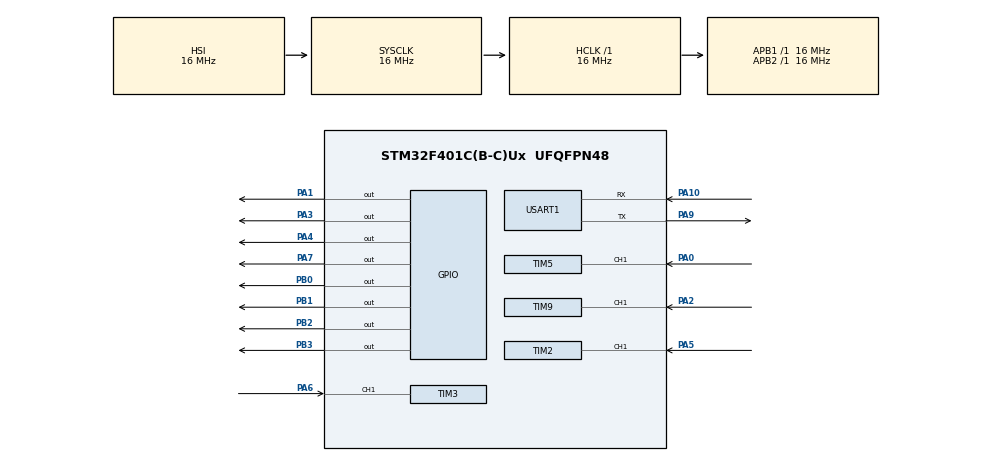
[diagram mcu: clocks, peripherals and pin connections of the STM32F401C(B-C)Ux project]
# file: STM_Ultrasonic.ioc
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Mcu.Family=STM32F4
Mcu.Name=STM32F401C(B-C)Ux
Mcu.Package=UFQFPN48
NVIC.PriorityGroup=NVIC_PRIORITYGROUP_4
PA0-WKUP.Signal=S_TIM5_CH1
PA1.Signal=GPIO_Output
PA10.Mode=Asynchronous
PA10.Signal=USART1_RX
PA13.Mode=Serial_Wire
PA13.Signal=SYS_JTMS-SWDIO
PA14.Mode=Serial_Wire
PA14.Signal=SYS_JTCK-SWCLK
PA2.Signal=S_TIM9_CH1
PA3.Signal=GPIO_Output
PA4.Signal=GPIO_Output
PA5.Signal=S_TIM2_CH1_ETR
PA6.Signal=S_TIM3_CH1
PA7.Signal=GPIO_Output
PA9.Mode=Asynchronous
PA9.Signal=USART1_TX
PB0.Signal=GPIO_Output
PB1.Signal=GPIO_Output
PB2.Signal=GPIO_Output
PB3.Signal=GPIO_Output
ProjectManager.HeapSize=0x200
ProjectManager.StackSize=0x400
ProjectManager.TargetToolchain=CMake
RCC.AHBFreq_Value=16000000
RCC.APB1Freq_Value=16000000
RCC.APB2Freq_Value=16000000
RCC.CortexFreq_Value=16000000
RCC.HSE_VALUE=25000000
RCC.HSI_VALUE=16000000
RCC.LSE_VALUE=32768
RCC.SYSCLKFreq_VALUE=16000000
RCC.VCOOutputFreq_Value=192000000
SH.S_TIM2_CH1_ETR.0=TIM2_CH1,Input_Capture1_from_TI1
SH.S_TIM3_CH1.0=TIM3_CH1,Input_Capture1_from_TI1
SH.S_TIM5_CH1.0=TIM5_CH1,Input_Capture1_from_TI1
SH.S_TIM9_CH1.0=TIM9_CH1,Input_Capture1_from_TI1
TIM2.Channel-Input_Capture1_from_TI1=TIM_CHANNEL_1
TIM2.ICPolarity_CH1=TIM_INPUTCHANNELPOLARITY_BOTHEDGE
TIM2.Prescaler=16
TIM3.Channel-Input_Capture1_from_TI1=TIM_CHANNEL_1
TIM3.ICPolarity_CH1=TIM_INPUTCHANNELPOLARITY_BOTHEDGE
TIM3.Prescaler=16
TIM5.Channel-Input_Capture1_from_TI1=TIM_CHANNEL_1
TIM5.ICPolarity_CH1=TIM_INPUTCHANNELPOLARITY_BOTHEDGE
TIM5.Prescaler=16
TIM9.Channel-Input_Capture1_from_TI1=TIM_CHANNEL_1
TIM9.ICPolarity_CH1=TIM_INPUTCHANNELPOLARITY_BOTHEDGE
TIM9.Prescaler=16
USART1.VirtualMode=VM_ASYNC
VP_TIM2_VS_ClockSourceINT.Mode=Internal
VP_TIM3_VS_ClockSourceINT.Mode=Internal
VP_TIM5_VS_ClockSourceINT.Mode=Internal
VP_TIM9_VS_ClockSourceINT.Mode=Internal
board=custom

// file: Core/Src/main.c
/* USER CODE BEGIN Header */
/**
 ******************************************************************************
 * @file           : main.c
 * @brief          : Main program body
 ******************************************************************************
 * @attention
 *
 * Copyright (c) 2025 STMicroelectronics.
 * All rights reserved.
 *
 * This software is licensed under terms that can be found in the LICENSE file
 * in the root directory of this software component.
 * If no LICENSE file comes with this software, it is provided AS-IS.
 *
 ******************************************************************************
 */
/* USER CODE END Header */
#include "main.h"

/* USER CODE BEGIN Includes */
#include "Ultrasonic_Sensor.h"

/* USER CODE END Includes */

TIM_HandleTypeDef htim2;
TIM_HandleTypeDef htim3;
TIM_HandleTypeDef htim5;
TIM_HandleTypeDef htim9;

UART_HandleTypeDef huart1;

/* USER CODE BEGIN PV */

extern const Ultrasonic us[4];

/* USER CODE END PV */

void SystemClock_Config(void);
static void MX_GPIO_Init(void);
static void MX_TIM2_Init(void);
static void MX_TIM3_Init(void);
static void MX_TIM5_Init(void);
static void MX_TIM9_Init(void);
static void MX_USART1_UART_Init(void);

int main(void)
{

  /* MCU Configuration--------------------------------------------------------*/

  /* Reset of all peripherals, Initializes the Flash interface and the Systick. */
  HAL_Init();

  /* Configure the system clock */
  SystemClock_Config();

  /* Initialize all configured peripherals */
  MX_GPIO_Init();
  MX_TIM2_Init();
  MX_TIM3_Init();
  MX_TIM5_Init();
  MX_TIM9_Init();
  MX_USART1_UART_Init();
  /* USER CODE BEGIN 2 */
  char distance_msg[64];
  snprintf(distance_msg, sizeof(distance_msg), "Hello\r\n");
  HAL_UART_Transmit(&huart1, (uint8_t *)distance_msg, strlen(distance_msg), HAL_MAX_DELAY);
  HAL_TIM_Base_Start(&htim2);
  HAL_TIM_Base_Start(&htim3);
  HAL_TIM_Base_Start(&htim5);
  HAL_TIM_Base_Start(&htim9);

  /* USER CODE END 2 */

  /* Infinite loop */
  /* USER CODE BEGIN WHILE */
  while (1)
  {
    uint16_t d[4];

    // for (int i = 0; i < 4; i++)
    // {
    //   d[i] = US_Measure_cm(&us[i], i);
    //   HAL_Delay(60); // allow echoes to clear
    // }
    d[0] = US_Measure_cm(&us[0], 0);
    HAL_Delay(60); // allow echoes to clear
    d[1] = US_Measure_cm(&us[1], 1);
    HAL_Delay(60); // allow echoes to clear
    // d[2] = US_Measure_cm(&us[2], 2);
    // HAL_Delay(60); // allow echoes to clear
    // d[3] = US_Measure_cm(&us[3], 3);
    // HAL_Delay(60); // allow echoes to clear

    HAL_UART_Transmit(&huart1, (uint8_t *)d, sizeof(d), HAL_MAX_DELAY);

    HAL_Delay(100);

    /* USER CODE END WHILE */

  }
}

void SystemClock_Config(void)
{
  RCC_OscInitTypeDef RCC_OscInitStruct = {0};
  RCC_ClkInitTypeDef RCC_ClkInitStruct = {0};

  /** Configure the main internal regulator output voltage
   */
  __HAL_RCC_PWR_CLK_ENABLE();
  __HAL_PWR_VOLTAGESCALING_CONFIG(PWR_REGULATOR_VOLTAGE_SCALE2);

  /** Initializes the RCC Oscillators according to the specified parameters
   * in the RCC_OscInitTypeDef structure.
   */
  RCC_OscInitStruct.OscillatorType = RCC_OSCILLATORTYPE_HSI;
  RCC_OscInitStruct.HSIState = RCC_HSI_ON;
  RCC_OscInitStruct.HSICalibrationValue = RCC_HSICALIBRATION_DEFAULT;
  RCC_OscInitStruct.PLL.PLLState = RCC_PLL_NONE;
  if (HAL_RCC_OscConfig(&RCC_OscInitStruct) != HAL_OK)
  {
    Error_Handler();
  }

  /** Initializes the CPU, AHB and APB buses clocks
   */
  RCC_ClkInitStruct.ClockType = RCC_CLOCKTYPE_HCLK | RCC_CLOCKTYPE_SYSCLK | RCC_CLOCKTYPE_PCLK1 | RCC_CLOCKTYPE_PCLK2;
  RCC_ClkInitStruct.SYSCLKSource = RCC_SYSCLKSOURCE_HSI;
  RCC_ClkInitStruct.AHBCLKDivider = RCC_SYSCLK_DIV1;
  RCC_ClkInitStruct.APB1CLKDivider = RCC_HCLK_DIV1;
  RCC_ClkInitStruct.APB2CLKDivider = RCC_HCLK_DIV1;

  if (HAL_RCC_ClockConfig(&RCC_ClkInitStruct, FLASH_LATENCY_0) != HAL_OK)
  {
    Error_Handler();
  }
}

static void MX_TIM2_Init(void)
{

  TIM_ClockConfigTypeDef sClockSourceConfig = {0};
  TIM_MasterConfigTypeDef sMasterConfig = {0};
  TIM_IC_InitTypeDef sConfigIC = {0};

  htim2.Instance = TIM2;
  htim2.Init.Prescaler = 16;
  htim2.Init.CounterMode = TIM_COUNTERMODE_UP;
  htim2.Init.Period = 4294967295;
  htim2.Init.ClockDivision = TIM_CLOCKDIVISION_DIV1;
  htim2.Init.AutoReloadPreload = TIM_AUTORELOAD_PRELOAD_DISABLE;
  if (HAL_TIM_Base_Init(&htim2) != HAL_OK)
  {
    Error_Handler();
  }
  sClockSourceConfig.ClockSource = TIM_CLOCKSOURCE_INTERNAL;
  if (HAL_TIM_ConfigClockSource(&htim2, &sClockSourceConfig) != HAL_OK)
  {
    Error_Handler();
  }
  if (HAL_TIM_IC_Init(&htim2) != HAL_OK)
  {
    Error_Handler();
  }
  sMasterConfig.MasterOutputTrigger = TIM_TRGO_RESET;
  sMasterConfig.MasterSlaveMode = TIM_MASTERSLAVEMODE_DISABLE;
  if (HAL_TIMEx_MasterConfigSynchronization(&htim2, &sMasterConfig) != HAL_OK)
  {
    Error_Handler();
  }
  sConfigIC.ICPolarity = TIM_INPUTCHANNELPOLARITY_BOTHEDGE;
  sConfigIC.ICSelection = TIM_ICSELECTION_DIRECTTI;
  sConfigIC.ICPrescaler = TIM_ICPSC_DIV1;
  sConfigIC.ICFilter = 0;
  if (HAL_TIM_IC_ConfigChannel(&htim2, &sConfigIC, TIM_CHANNEL_1) != HAL_OK)
  {
    Error_Handler();
  }
}

static void MX_TIM3_Init(void)
{

  TIM_ClockConfigTypeDef sClockSourceConfig = {0};
  TIM_MasterConfigTypeDef sMasterConfig = {0};
  TIM_IC_InitTypeDef sConfigIC = {0};

  htim3.Instance = TIM3;
  htim3.Init.Prescaler = 16;
  htim3.Init.CounterMode = TIM_COUNTERMODE_UP;
  htim3.Init.Period = 65535;
  htim3.Init.ClockDivision = TIM_CLOCKDIVISION_DIV1;
  htim3.Init.AutoReloadPreload = TIM_AUTORELOAD_PRELOAD_DISABLE;
  if (HAL_TIM_Base_Init(&htim3) != HAL_OK)
  {
    Error_Handler();
  }
  sClockSourceConfig.ClockSource = TIM_CLOCKSOURCE_INTERNAL;
  if (HAL_TIM_ConfigClockSource(&htim3, &sClockSourceConfig) != HAL_OK)
  {
    Error_Handler();
  }
  if (HAL_TIM_IC_Init(&htim3) != HAL_OK)
  {
    Error_Handler();
  }
  sMasterConfig.MasterOutputTrigger = TIM_TRGO_RESET;
  sMasterConfig.MasterSlaveMode = TIM_MASTERSLAVEMODE_DISABLE;
  if (HAL_TIMEx_MasterConfigSynchronization(&htim3, &sMasterConfig) != HAL_OK)
  {
    Error_Handler();
  }
  sConfigIC.ICPolarity = TIM_INPUTCHANNELPOLARITY_BOTHEDGE;
  sConfigIC.ICSelection = TIM_ICSELECTION_DIRECTTI;
  sConfigIC.ICPrescaler = TIM_ICPSC_DIV1;
  sConfigIC.ICFilter = 0;
  if (HAL_TIM_IC_ConfigChannel(&htim3, &sConfigIC, TIM_CHANNEL_1) != HAL_OK)
  {
    Error_Handler();
  }
}

static void MX_TIM5_Init(void)
{

  TIM_ClockConfigTypeDef sClockSourceConfig = {0};
  TIM_MasterConfigTypeDef sMasterConfig = {0};
  TIM_IC_InitTypeDef sConfigIC = {0};

  htim5.Instance = TIM5;
  htim5.Init.Prescaler = 16;
  htim5.Init.CounterMode = TIM_COUNTERMODE_UP;
  htim5.Init.Period = 4294967295;
  htim5.Init.ClockDivision = TIM_CLOCKDIVISION_DIV1;
  htim5.Init.AutoReloadPreload = TIM_AUTORELOAD_PRELOAD_DISABLE;
  if (HAL_TIM_Base_Init(&htim5) != HAL_OK)
  {
    Error_Handler();
  }
  sClockSourceConfig.ClockSource = TIM_CLOCKSOURCE_INTERNAL;
  if (HAL_TIM_ConfigClockSource(&htim5, &sClockSourceConfig) != HAL_OK)
  {
    Error_Handler();
  }
  if (HAL_TIM_IC_Init(&htim5) != HAL_OK)
  {
    Error_Handler();
  }
  sMasterConfig.MasterOutputTrigger = TIM_TRGO_RESET;
  sMasterConfig.MasterSlaveMode = TIM_MASTERSLAVEMODE_DISABLE;
  if (HAL_TIMEx_MasterConfigSynchronization(&htim5, &sMasterConfig) != HAL_OK)
  {
    Error_Handler();
  }
  sConfigIC.ICPolarity = TIM_INPUTCHANNELPOLARITY_BOTHEDGE;
  sConfigIC.ICSelection = TIM_ICSELECTION_DIRECTTI;
  sConfigIC.ICPrescaler = TIM_ICPSC_DIV1;
  sConfigIC.ICFilter = 0;
  if (HAL_TIM_IC_ConfigChannel(&htim5, &sConfigIC, TIM_CHANNEL_1) != HAL_OK)
  {
    Error_Handler();
  }
}

static void MX_TIM9_Init(void)
{

  TIM_ClockConfigTypeDef sClockSourceConfig = {0};
  TIM_IC_InitTypeDef sConfigIC = {0};

  htim9.Instance = TIM9;
  htim9.Init.Prescaler = 16;
  htim9.Init.CounterMode = TIM_COUNTERMODE_UP;
  htim9.Init.Period = 65535;
  htim9.Init.ClockDivision = TIM_CLOCKDIVISION_DIV1;
  htim9.Init.AutoReloadPreload = TIM_AUTORELOAD_PRELOAD_DISABLE;
  if (HAL_TIM_Base_Init(&htim9) != HAL_OK)
  {
    Error_Handler();
  }
  sClockSourceConfig.ClockSource = TIM_CLOCKSOURCE_INTERNAL;
  if (HAL_TIM_ConfigClockSource(&htim9, &sClockSourceConfig) != HAL_OK)
  {
    Error_Handler();
  }
  if (HAL_TIM_IC_Init(&htim9) != HAL_OK)
  {
    Error_Handler();
  }
  sConfigIC.ICPolarity = TIM_INPUTCHANNELPOLARITY_BOTHEDGE;
  sConfigIC.ICSelection = TIM_ICSELECTION_DIRECTTI;
  sConfigIC.ICPrescaler = TIM_ICPSC_DIV1;
  sConfigIC.ICFilter = 0;
  if (HAL_TIM_IC_ConfigChannel(&htim9, &sConfigIC, TIM_CHANNEL_1) != HAL_OK)
  {
    Error_Handler();
  }
}

static void MX_USART1_UART_Init(void)
{

  huart1.Instance = USART1;
  huart1.Init.BaudRate = 115200;
  huart1.Init.WordLength = UART_WORDLENGTH_8B;
  huart1.Init.StopBits = UART_STOPBITS_1;
  huart1.Init.Parity = UART_PARITY_NONE;
  huart1.Init.Mode = UART_MODE_TX_RX;
  huart1.Init.HwFlowCtl = UART_HWCONTROL_NONE;
  huart1.Init.OverSampling = UART_OVERSAMPLING_16;
  if (HAL_UART_Init(&huart1) != HAL_OK)
  {
    Error_Handler();
  }
}

static void MX_GPIO_Init(void)
{
  GPIO_InitTypeDef GPIO_InitStruct = {0};

  /* GPIO Ports Clock Enable */
  __HAL_RCC_GPIOA_CLK_ENABLE();
  __HAL_RCC_GPIOB_CLK_ENABLE();

  /*Configure GPIO pin Output Level */
  HAL_GPIO_WritePin(GPIOA, GPIO_PIN_1 | GPIO_PIN_3 | GPIO_PIN_4 | GPIO_PIN_7, GPIO_PIN_RESET);

  /*Configure GPIO pin Output Level */
  HAL_GPIO_WritePin(GPIOB, GPIO_PIN_0 | GPIO_PIN_1 | GPIO_PIN_2 | GPIO_PIN_3, GPIO_PIN_RESET);

  /*Configure GPIO pins : PA1 PA3 PA4 PA7 */
  GPIO_InitStruct.Pin = GPIO_PIN_1 | GPIO_PIN_3 | GPIO_PIN_4 | GPIO_PIN_7;
  GPIO_InitStruct.Mode = GPIO_MODE_OUTPUT_PP;
  GPIO_InitStruct.Pull = GPIO_NOPULL;
  GPIO_InitStruct.Speed = GPIO_SPEED_FREQ_LOW;
  HAL_GPIO_Init(GPIOA, &GPIO_InitStruct);

  /*Configure GPIO pins : PB0 PB1 PB2 PB3 */
  GPIO_InitStruct.Pin = GPIO_PIN_0 | GPIO_PIN_1 | GPIO_PIN_2 | GPIO_PIN_3;
  GPIO_InitStruct.Mode = GPIO_MODE_OUTPUT_PP;
  GPIO_InitStruct.Pull = GPIO_NOPULL;
  GPIO_InitStruct.Speed = GPIO_SPEED_FREQ_LOW;
  HAL_GPIO_Init(GPIOB, &GPIO_InitStruct);

}

void Error_Handler(void)
{
  __disable_irq();
  while (1)
  {
  }
}
